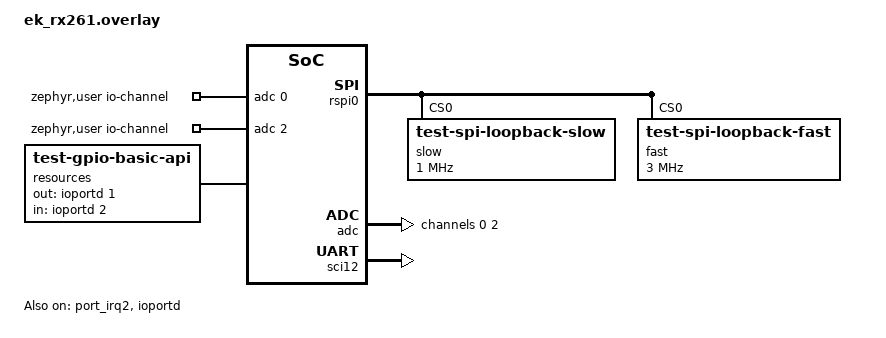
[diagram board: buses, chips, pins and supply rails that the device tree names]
/*
 * Copyright (c) 2025 Renesas Electronics Corporation
 * SPDX-License-Identifier: Apache-2.0
 */

&rspi0 {
	slow@0 {
		compatible = "test-spi-loopback-slow";
		reg = <0>;
		spi-max-frequency = <1000000>;
	};

	fast@0 {
		compatible = "test-spi-loopback-fast";
		reg = <0>;
		spi-max-frequency = <3000000>;
	};
};

/ {
	zephyr,user {
		io-channels = <&adc 0>, <&adc 2>;
	};
};

&adc {
	pinctrl-0 = <&adc_default>;
	pinctrl-names = "default";
	status = "okay";
	#address-cells = <1>;
	#size-cells = <0>;
	channel@0 {
		reg = <0>;
		zephyr,gain = "ADC_GAIN_1";
		zephyr,reference = "ADC_REF_INTERNAL";
		zephyr,resolution = <12>;
		zephyr,acquisition-time = <ADC_ACQ_TIME_DEFAULT>;
		zephyr,vref-mv = <3300>;
	};
	channel@2 {
		reg = <2>;
		zephyr,gain = "ADC_GAIN_1";
		zephyr,reference = "ADC_REF_INTERNAL";
		zephyr,resolution = <12>;
		zephyr,acquisition-time = <ADC_ACQ_TIME_DEFAULT>;
		zephyr,vref-mv = <3300>;
	};
};

/ {
	resources {
		compatible = "test-gpio-basic-api";
		out-gpios = <&ioportd 1 0>;
		in-gpios = <&ioportd 2 0>;
	};
};

&port_irq2 {
	status = "okay";
	renesas,digital-filtering;
};

&ioportd {
	status = "okay";
};

&pinctrl {
	sci12_default: sci12_default {
		group1 {
			psels = <RX_PSEL(0xC, 0xE, 1)>,
				<RX_PSEL(0xC, 0xE, 2)>;
		};
	};
};

&sci12 {
	pinctrl-0 = <&sci12_default>;
	pinctrl-names = "default";
	status = "okay";
	dut: uart {
		current-speed = <115200>;
		status = "okay";
	};
};
